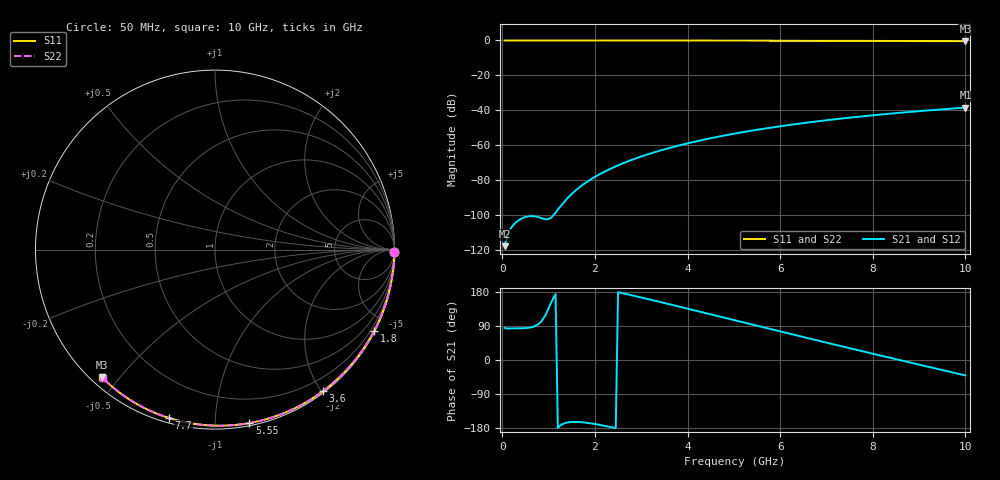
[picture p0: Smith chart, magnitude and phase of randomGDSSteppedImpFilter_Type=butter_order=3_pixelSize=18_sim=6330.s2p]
! freq	dB(S11)	phase(S11)	dB(S12)	phase(S12)
!  dB(S21)	phase(S21)	dB(S22)	phase(S22)
!S-par simulation data
#  GHz  S  DB  R 50
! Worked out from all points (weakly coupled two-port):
!   200 points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, 50 MHz to 10 GHz, reference 50 ohm
!   highest |S21| = -38.41 dB at 10 GHz (marker M1); lowest = -117.7 dB at 50 MHz (marker M2)
!   lowest |S11| = -0.4 dB at 10 GHz (marker M3), VSWR 38.97, Z = 1.54 - j22.4 ohm
!   |S11| at or under -10 dB: nowhere
!   |S22| runs from -0.4 to 0.0 dB; largest |S21 - S12| = 0
!   S11 on the Smith chart (normalised r, x): 50 MHz: open; 1.8 GHz: 0.04, -4.17; 3.6 GHz: 0.02, -2.02; 5.55 GHz: 0.02, -1.22; 7.7 GHz: 0.02, -0.76; 10 GHz: 0.03, -0.45
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0.05  -0.00 -0.8  -117.68 84.6  -117.68 84.6  -0.00 -0.8
0.9  -0.02 -13.6  -102.11 112.2  -102.11 112.2  -0.02 -13.6
1.75  -0.03 -26.3  -82.33 -164.6  -82.33 -164.6  -0.03 -26.1
1.8  -0.03 -27.0  -81.39 -165.3  -81.39 -165.3  -0.03 -26.9
1.85  -0.04 -27.7  -80.51 -166.1  -80.51 -166.1  -0.04 -27.6
1.9  -0.04 -28.5  -79.65 -167.0  -79.65 -167.0  -0.04 -28.3
2.05  -0.04 -30.7  -77.28 -170.0  -77.28 -170.0  -0.04 -30.5
2.25  -0.04 -33.6  -74.49 -174.7  -74.49 -174.7  -0.04 -33.4
2.45  -0.05 -36.5  -72.01 -179.8  -72.01 -179.8  -0.05 -36.3
2.65  -0.05 -39.3  -69.79 174.8  -69.79 174.8  -0.05 -39.2
3  -0.06 -44.3  -66.39 164.9  -66.39 164.9  -0.06 -44.2
3.4  -0.07 -50.0  -63.05 153.3  -63.05 153.3  -0.07 -49.8
3.6  -0.07 -52.8  -61.56 147.4  -61.56 147.4  -0.07 -52.5
4.3  -0.09 -62.4  -57.05 126.5  -57.05 126.5  -0.09 -62.1
5.05  -0.11 -72.3  -53.13 103.9  -53.13 103.9  -0.11 -72.0
5.55  -0.13 -78.8  -50.89 88.9  -50.89 88.9  -0.13 -78.5
6.1  -0.15 -85.8  -48.71 72.5  -48.71 72.5  -0.15 -85.4
6.7  -0.18 -93.2  -46.61 54.7  -46.61 54.7  -0.18 -92.8
7.7  -0.24 -105.2  -43.61 25.3  -43.61 25.3  -0.24 -104.8
8.35  -0.29 -112.9  -41.93 6.5  -41.93 6.5  -0.29 -112.4
9.15  -0.36 -122.0  -40.11 -16.5  -40.11 -16.5  -0.36 -121.5
10  -0.45 -131.7  -38.41 -40.7  -38.41 -40.7  -0.44 -131.1
